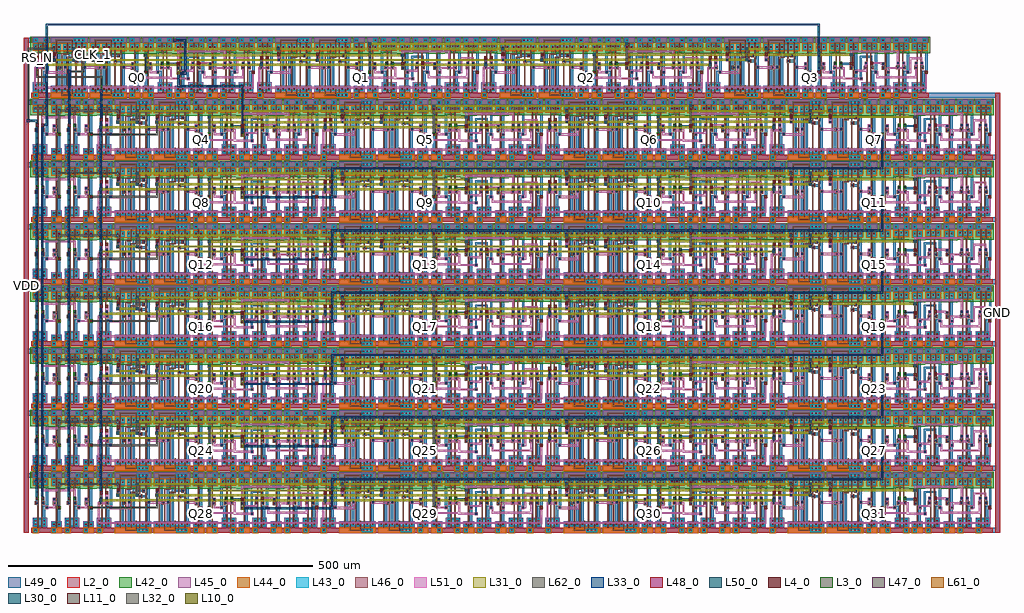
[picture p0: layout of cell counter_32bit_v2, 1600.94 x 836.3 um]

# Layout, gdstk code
from math import pi, radians
import gdstk
lib = gdstk.Library(unit=1e-6, precision=1e-09)
def R(c, l, rs):  # rectangles x0, y0, x1, y1
    for r in rs: c.add(gdstk.rectangle(r[:2], r[2:], *l))
def A(c, l, x, y, w, h, nx, ny, dx, dy):  # array of equal rectangles
    R(c, l, [(x+i*dx, y+j*dy, x+i*dx+w, y+j*dy+h) for i in range(nx) for j in range(ny)])
def P(c, l, *ps):  # polygons
    for p in ps: c.add(gdstk.Polygon(p, *l))
L2_0 = (2, 0)
L3_0 = (3, 0)
L4_0 = (4, 0)
L10_0 = (10, 0)
L11_0 = (11, 0)
L30_0 = (30, 0)
L31_0 = (31, 0)
L32_0 = (32, 0)
L33_0 = (33, 0)
L42_0 = (42, 0)
L43_0 = (43, 0)
L44_0 = (44, 0)
L45_0 = (45, 0)
L46_0 = (46, 0)
L47_0 = (47, 0)
L48_0 = (48, 0)
L49_0 = (49, 0)
L50_0 = (50, 0)
L51_0 = (51, 0)
L61_0 = (61, 0)
L62_0 = (62, 0)

nand2 = lib.new_cell('nand2')
R(nand2, L42_0, [(402,-492,436,-465)])
R(nand2, L43_0, [(408,-564,414,-558), (408,-554,428,-548), (408,-548,428,-542), (408,-486,430,-484), (408,-484,430,-478), (408,-474,414,-468), (424,-474,430,-468)])
R(nand2, L44_0, [(406,-566,416,-556), (406,-488,432,-476)])
R(nand2, L45_0, [(406,-556,430,-540), (406,-476,432,-466)])
R(nand2, L46_0, [(414,-557,416,-545), (420,-557,422,-545), (410,-519,416,-513), (420,-519,426,-513), (414,-489,416,-475), (422,-489,424,-475)])
R(nand2, L47_0, [(412,-517,414,-515), (422,-517,424,-515)])
A(nand2, L48_0, 410, -482, 2, 2, 3, 1, 8, 0)
R(nand2, L48_0, [(410,-562,412,-560), (410,-552,412,-550), (424,-552,426,-550), (410,-546,412,-544), (424,-546,426,-544), (410,-472,412,-470), (426,-472,428,-470)])
A(nand2, L49_0, 409, -483, 4, 4, 3, 1, 8, 0)
R(nand2, L49_0, [(404,-565,434,-557), (409,-563,413,-559), (409,-553,413,-549), (423,-553,427,-549), (409,-547,413,-543), (423,-547,427,-543), (427,-526,432,-521), (411,-518,415,-514), (421,-518,425,-514), (411,-511,416,-506), (420,-511,425,-506), (404,-475,434,-467), (409,-473,413,-469), (425,-473,429,-469)])
R(nand2, L50_0, [(428,-525,431,-522), (412,-510,415,-507), (421,-510,424,-507)])
R(nand2, L51_0, [(427,-526,432,-521), (411,-511,416,-506), (420,-511,425,-506)])
nand2.add(gdstk.FlexPath([(425,-543),(425,-521)], 4, ends="flush", simple_path=True, layer=49, datatype=0))  # L49_0
nand2.add(gdstk.FlexPath([(430,-517),(430,-497)], 4, ends="flush", simple_path=True, layer=49, datatype=0))  # L49_0
nand2.add(gdstk.FlexPath([(417,-489),(432,-489)], 4, ends="flush", simple_path=True, layer=49, datatype=0))  # L49_0
nand2.add(gdstk.FlexPath([(419,-483),(419,-487)], 4, ends="flush", simple_path=True, layer=49, datatype=0))  # L49_0
nand2.add(gdstk.FlexPath([(430,-491),(430,-497)], 4, ends="flush", simple_path=True, layer=49, datatype=0))  # L49_0
nand2.add(gdstk.FlexPath([(423,-514),(423,-511)], 4, ends="flush", simple_path=True, layer=49, datatype=0))  # L49_0
nand2.add(gdstk.FlexPath([(413,-514),(413,-511)], 4, ends="flush", simple_path=True, layer=49, datatype=0))  # L49_0
nand2.add(gdstk.FlexPath([(411,-473),(411,-479)], 4, ends="flush", simple_path=True, layer=49, datatype=0))  # L49_0
nand2.add(gdstk.FlexPath([(427,-473),(427,-479)], 4, ends="flush", simple_path=True, layer=49, datatype=0))  # L49_0
nand2.add(gdstk.FlexPath([(430,-517),(430,-521)], 4, ends="flush", simple_path=True, layer=49, datatype=0))  # L49_0
nand2.add(gdstk.FlexPath([(411,-553),(411,-559)], 4, ends="flush", simple_path=True, layer=49, datatype=0))  # L49_0
nand2.add(gdstk.FlexPath([(425,-549),(425,-547)], 4, ends="flush", simple_path=True, layer=49, datatype=0))  # L49_0
nand2.add(gdstk.FlexPath([(411,-549),(411,-547)], 4, ends="flush", simple_path=True, layer=49, datatype=0))  # L49_0
nand2.add(gdstk.FlexPath([(415,-489),(415,-545)], 2, ends="flush", simple_path=True, layer=46, datatype=0))  # L46_0
nand2.add(gdstk.FlexPath([(421,-545),(421,-491)], 2, ends="flush", simple_path=True, layer=46, datatype=0))  # L46_0
nand2.add(gdstk.FlexPath([(420,-490),(424,-490)], 2, ends="flush", simple_path=True, layer=46, datatype=0))  # L46_0
nand2.add(gdstk.Label('VA', (413.5,-508.5), layer=51, texttype=0))
nand2.add(gdstk.Label('VB', (422.5,-508.5), layer=51, texttype=0))
nand2.add(gdstk.Label('VOUT', (429.5,-523.5), layer=51, texttype=0))
nand2.add(gdstk.Label('VDD', (419,-471), layer=49, texttype=0))
nand2.add(gdstk.Label('GND', (419,-561), layer=49, texttype=0))

latch_rs = lib.new_cell('latch_rs')
R(latch_rs, L42_0, [(72,141.6,140,169.6)])
A(latch_rs, L43_0, 113, 70.6, 6, 6, 3, 2, 6, 90)
R(latch_rs, L43_0, [(78,80.6,92,86.6), (96,80.6,134,86.6), (78,147.6,92,150.6), (96,147.6,134,150.6), (78,150.6,92,156.6), (96,150.6,134,156.6)])
R(latch_rs, L44_0, [(76,68.6,136,78.6), (76,145.6,94,158.6), (94,145.6,136,158.6)])
R(latch_rs, L45_0, [(76,78.6,94,88.6), (94,78.6,136,88.6), (76,158.6,136,168.6)])
R(latch_rs, L46_0, [(84,77.6,86,89.6), (102,77.6,104,89.6), (110,77.6,112,89.6), (116,77.6,118,89.6), (126,77.6,128,89.6), (89,116,95,122), (115,126.6,121,132.6), (79,135,85,141), (121,135.6,127,141.6), (84,141.6,86,159.6), (102,147.6,104,159.6), (110,147.6,112,159.6), (116,147.6,118,159.6), (126,147.6,128,159.6)])
R(latch_rs, L47_0, [(91,118,93,120), (117,128.6,119,130.6), (81,137,83,139), (123,137.6,125,139.6)])
A(latch_rs, L48_0, 115, 72.6, 2, 2, 3, 2, 6, 90)
R(latch_rs, L48_0, [(80,82.6,82,84.6), (88,82.6,90,84.6), (98,82.6,100,84.6), (106,82.6,108,84.6), (121,82.6,123,84.6), (130,82.6,132,84.6), (80,151.6,82,153.6), (88,151.6,90,153.6), (98,151.6,100,153.6), (106,151.6,108,153.6), (121,151.6,123,153.6), (130,151.6,132,153.6)])
A(latch_rs, L49_0, 114, 71.6, 4, 4, 3, 2, 6, 90)
R(latch_rs, L49_0, [(74,69.6,138,77.6), (79,81.6,83,85.6), (87,81.6,91,85.6), (97,81.6,101,85.6), (105,81.6,109,85.6), (120,81.6,124,85.6), (129,81.6,133,85.6), (97,117,102,122), (129,117,134,122), (116,127.6,120,131.6), (79,129,84,134), (80,136,84,140), (122,136.6,126,140.6), (79,150.6,83,154.6), (87,150.6,91,154.6), (97,150.6,101,154.6), (105,150.6,109,154.6), (120,150.6,124,154.6), (129,150.6,133,154.6), (74,159.6,138,167.6)])
R(latch_rs, L50_0, [(98,118,101,121), (130,118,133,121), (80,130,83,133)])
R(latch_rs, L51_0, [(97,117,102,122), (129,117,134,122), (79,129,84,134)])
latch_rs.add(gdstk.FlexPath([(89,145.6),(89,150.6)], 4, ends="flush", simple_path=True, layer=49, datatype=0))  # L49_0
latch_rs.add(gdstk.FlexPath([(99,145.6),(99,150.6)], 4, ends="flush", simple_path=True, layer=49, datatype=0))  # L49_0
latch_rs.add(gdstk.FlexPath([(107,145.6),(107,150.6)], 4, ends="flush", simple_path=True, layer=49, datatype=0))  # L49_0
latch_rs.add(gdstk.FlexPath([(81,154.5),(81,160)], 4, ends="flush", simple_path=True, layer=49, datatype=0))  # L49_0
latch_rs.add(gdstk.FlexPath([(89,108.6),(89,85.6)], 4, ends="flush", simple_path=True, layer=49, datatype=0))  # L49_0
latch_rs.add(gdstk.FlexPath([(122,138.6),(109,138.6)], 4, ends="flush", simple_path=True, layer=49, datatype=0))  # L49_0
latch_rs.add(gdstk.FlexPath([(89,108.5),(89,146)], 4, ends="flush", simple_path=True, layer=49, datatype=0))  # L49_0
latch_rs.add(gdstk.FlexPath([(99,108.5),(99,146)], 4, ends="flush", simple_path=True, layer=49, datatype=0))  # L49_0
latch_rs.add(gdstk.FlexPath([(82,136),(82,134)], 4, ends="flush", simple_path=True, layer=49, datatype=0))  # L49_0
latch_rs.add(gdstk.FlexPath([(131,108.5),(131,146)], 4, ends="flush", simple_path=True, layer=49, datatype=0))  # L49_0
latch_rs.add(gdstk.FlexPath([(131,108.6),(131,85.6)], 4, ends="flush", simple_path=True, layer=49, datatype=0))  # L49_0
latch_rs.add(gdstk.FlexPath([(107,108.6),(107,85.6)], 4, ends="flush", simple_path=True, layer=49, datatype=0))  # L49_0
latch_rs.add(gdstk.FlexPath([(91,119),(94,119)], 4, ends="flush", simple_path=True, layer=49, datatype=0))  # L49_0
latch_rs.add(gdstk.FlexPath([(122,81.6),(122,75.6)], 4, ends="flush", simple_path=True, layer=49, datatype=0))  # L49_0
latch_rs.add(gdstk.FlexPath([(131,145.6),(131,150.6)], 4, ends="flush", simple_path=True, layer=49, datatype=0))  # L49_0
latch_rs.add(gdstk.FlexPath([(120,129.6),(129,129.6)], 4, ends="flush", simple_path=True, layer=49, datatype=0))  # L49_0
latch_rs.add(gdstk.FlexPath([(81,75.6),(81,81.6)], 4, ends="flush", simple_path=True, layer=49, datatype=0))  # L49_0
latch_rs.add(gdstk.FlexPath([(122,154.5),(122,160)], 4, ends="flush", simple_path=True, layer=49, datatype=0))  # L49_0
latch_rs.add(gdstk.FlexPath([(99,108.6),(99,85.6)], 4, ends="flush", simple_path=True, layer=49, datatype=0))  # L49_0
latch_rs.add(gdstk.FlexPath([(107,108.5),(107,146)], 4, ends="flush", simple_path=True, layer=49, datatype=0))  # L49_0
latch_rs.add(gdstk.FlexPath([(103,147.6),(103,141.6)], 2, ends="flush", simple_path=True, layer=46, datatype=0))  # L46_0
latch_rs.add(gdstk.FlexPath([(117,141.6),(117,127.6)], 2, ends="flush", simple_path=True, layer=46, datatype=0))  # L46_0
latch_rs.add(gdstk.FlexPath([(85,89.5),(85,127)], 2, ends="flush", simple_path=True, layer=46, datatype=0))  # L46_0
latch_rs.add(gdstk.FlexPath([(117,89.5),(117,127)], 2, ends="flush", simple_path=True, layer=46, datatype=0))  # L46_0
latch_rs.add(gdstk.FlexPath([(85,141.6),(85,126.6)], 2, ends="flush", simple_path=True, layer=46, datatype=0))  # L46_0
latch_rs.add(gdstk.FlexPath([(85,159.6),(85,163.6),(111,163.6),(111,159.6)], 2, ends="flush", simple_path=True, layer=46, datatype=0))  # L46_0
latch_rs.add(gdstk.FlexPath([(94,104.5),(94,141.5)], 2, ends="flush", simple_path=True, layer=46, datatype=0))  # L46_0
latch_rs.add(gdstk.FlexPath([(111,147.6),(111,141.6)], 2, ends="flush", simple_path=True, layer=46, datatype=0))  # L46_0
latch_rs.add(gdstk.FlexPath([(103,128),(103,89.5)], 2, ends="flush", simple_path=True, layer=46, datatype=0))  # L46_0
latch_rs.add(gdstk.FlexPath([(94,104.6),(94,73.6),(111,73.6),(111,77.6)], 2, ends="flush", simple_path=True, layer=46, datatype=0))  # L46_0
latch_rs.add(gdstk.FlexPath([(117,147.6),(117,141.6)], 2, ends="flush", simple_path=True, layer=46, datatype=0))  # L46_0
latch_rs.add(gdstk.FlexPath([(127,141.6),(127,127.6)], 2, ends="flush", simple_path=True, layer=46, datatype=0))  # L46_0
latch_rs.add(gdstk.FlexPath([(111,141.6),(111,135.6),(103,135.6),(103,127.6)], 2, ends="flush", simple_path=True, layer=46, datatype=0))  # L46_0
latch_rs.add(gdstk.FlexPath([(127,147.6),(127,141.6)], 2, ends="flush", simple_path=True, layer=46, datatype=0))  # L46_0
latch_rs.add(gdstk.FlexPath([(127,127.6),(127,126.6)], 2, ends="flush", simple_path=True, layer=46, datatype=0))  # L46_0
latch_rs.add(gdstk.FlexPath([(104,141),(93,141)], 2, ends="flush", simple_path=True, layer=46, datatype=0))  # L46_0
latch_rs.add(gdstk.FlexPath([(127,127),(127,89.5)], 2, ends="flush", simple_path=True, layer=46, datatype=0))  # L46_0
latch_rs.add(gdstk.FlexPath([(117,127.6),(117,126.6)], 2, ends="flush", simple_path=True, layer=46, datatype=0))  # L46_0
latch_rs.add(gdstk.Label('CLK', (81.5,131.5), layer=51, texttype=0))
latch_rs.add(gdstk.Label('D', (99.5,119.5), layer=51, texttype=0))
latch_rs.add(gdstk.Label('Q', (131.5,119.5), layer=51, texttype=0))
latch_rs.add(gdstk.Label('VDD', (106,163.6), layer=49, texttype=0))
latch_rs.add(gdstk.Label('GND', (106,73.6), layer=49, texttype=0))

inv = lib.new_cell('inv')
R(inv, L42_0, [(23.3,75.2,49.5,103.2)])
R(inv, L43_0, [(29.3,4.2,35.3,10.2), (29.3,14.2,43.3,20.2), (29.3,81.2,43.3,84.2), (29.3,84.2,43.3,90.2), (29.3,94.2,35.3,100.2)])
R(inv, L44_0, [(27.3,2.2,45.3,12.2), (27.3,79.2,45.3,92.2)])
R(inv, L45_0, [(27.3,12.2,45.3,22.2), (27.3,92.2,45.3,102.2)])
R(inv, L46_0, [(35.3,11.2,37.3,23.2), (30.25,48.6,36.25,54.6), (35.3,75.2,37.3,93.2)])
R(inv, L47_0, [(32.3,50.6,34.3,52.6)])
R(inv, L48_0, [(31.3,6.2,33.3,8.2), (31.3,16.2,33.3,18.2), (39.3,16.2,41.3,18.2), (31.3,85.2,33.3,87.2), (39.3,85.2,41.3,87.2), (31.3,96.2,33.3,98.2)])
R(inv, L49_0, [(30.3,5.2,34.3,9.2), (30.3,15.2,34.3,19.2), (38.3,15.2,42.3,19.2), (38.3,42.1,43.3,47.1), (31.3,49.6,35.3,53.6), (30.3,56,35.3,61), (30.3,84.2,34.3,88.2), (38.3,84.2,42.3,88.2), (30.3,95.2,34.3,99.2)])
R(inv, L50_0, [(39.3,43.1,42.3,46.1), (31.3,57,34.3,60)])
R(inv, L51_0, [(38.3,42.1,43.3,47.1), (30.3,56,35.3,61)])
inv.add(gdstk.FlexPath([(24.99,97.2),(47.49,97.2)], 8, ends="flush", simple_path=True, layer=49, datatype=0))  # L49_0
inv.add(gdstk.FlexPath([(25,7.2),(47.5,7.2)], 8, ends="flush", simple_path=True, layer=49, datatype=0))  # L49_0
inv.add(gdstk.FlexPath([(33.3,53.6),(33.3,56)], 4, ends="flush", simple_path=True, layer=49, datatype=0))  # L49_0
inv.add(gdstk.FlexPath([(40.3,42.2),(40.3,19.2)], 4, ends="flush", simple_path=True, layer=49, datatype=0))  # L49_0
inv.add(gdstk.FlexPath([(32.3,88.2),(32.3,95.2)], 4, ends="flush", simple_path=True, layer=49, datatype=0))  # L49_0
inv.add(gdstk.FlexPath([(40.3,79.2),(40.3,84.2)], 4, ends="flush", simple_path=True, layer=49, datatype=0))  # L49_0
inv.add(gdstk.FlexPath([(32.3,9.2),(32.3,15.2)], 4, ends="flush", simple_path=True, layer=49, datatype=0))  # L49_0
inv.add(gdstk.FlexPath([(40.3,42.1),(40.3,79.6)], 4, ends="flush", simple_path=True, layer=49, datatype=0))  # L49_0
inv.add(gdstk.FlexPath([(36.3,75.2),(36.3,60.2)], 2, ends="flush", simple_path=True, layer=46, datatype=0))  # L46_0
inv.add(gdstk.FlexPath([(36.3,23.1),(36.3,60.6)], 2, ends="flush", simple_path=True, layer=46, datatype=0))  # L46_0
inv.add(gdstk.Label('VOUT', (40.8,44.6), layer=51, texttype=0))
inv.add(gdstk.Label('VIN', (32.8,58.5), layer=51, texttype=0))
inv.add(gdstk.Label('VDD', (36.24,97.2), layer=49, texttype=0))
inv.add(gdstk.Label('GND', (36.25,7.2), layer=49, texttype=0))
inv.add(gdstk.Label('VIN', (32.8,58.5), layer=3, texttype=0))
inv.add(gdstk.Label('VOUT', (40.8,44.6), layer=3, texttype=0))

dff_rs = lib.new_cell('dff_rs')
R(dff_rs, L2_0, [(-2030.3,-1377,-1849.8,-1369), (-2030.3,-1287,-1849.8,-1279)])
R(dff_rs, L4_0, [(-1859,-1347.1,-1854,-1342.1), (-2023.3,-1314,-2018.3,-1309), (-2014.3,-1314,-2009.3,-1309), (-1995.3,-1308.6,-1990.3,-1303.6), (-1931.3,-1308.6,-1926.3,-1303.6)])
R(dff_rs, L49_0, [(-2030.3,-1377,-1849.8,-1369), (-2030.3,-1287,-1849.8,-1279)])
R(dff_rs, L51_0, [(-1859,-1347.1,-1854,-1338.1), (-1977.3,-1329.6,-1972.3,-1324.6), (-2023.3,-1318,-2018.3,-1309), (-2014.3,-1318,-2009.3,-1309), (-1995.3,-1312.6,-1990.3,-1303.6), (-1931.3,-1312.6,-1926.3,-1303.6)])
R(dff_rs, L61_0, [(-1858,-1346.1,-1855,-1343.1), (-2022.3,-1313,-2019.3,-1310), (-2013.3,-1313,-2010.3,-1310), (-1994.3,-1307.6,-1991.3,-1304.6), (-1930.3,-1307.6,-1927.3,-1304.6)])
R(dff_rs, L62_0, [(-1859,-1347.1,-1854,-1342.1), (-2023.3,-1314,-2018.3,-1309), (-2014.3,-1314,-2009.3,-1309), (-1995.3,-1308.6,-1990.3,-1303.6), (-1931.3,-1308.6,-1926.3,-1303.6)])
dff_rs.add(gdstk.FlexPath([(-1864.5,-1321.68),(-1864.5,-1329.6)], 5, ends="flush", simple_path=True, layer=51, datatype=0))  # L51_0
dff_rs.add(gdstk.FlexPath([(-1942.3,-1327.6),(-1911.3,-1327.6)], 4, ends="flush", simple_path=True, layer=51, datatype=0))  # L51_0
dff_rs.add(gdstk.FlexPath([(-2005,-1336),(-1975,-1336),(-1975,-1327)], 4, ends="flush", simple_path=True, layer=51, datatype=0))  # L51_0
dff_rs.add(gdstk.FlexPath([(-1878.3,-1327.6),(-1862.3,-1327.6)], 4, ends="flush", simple_path=True, layer=51, datatype=0))  # L51_0
dff_rs.add(gdstk.Reference(nand2, (-2434.3,-812)))
dff_rs.add(gdstk.Reference(latch_rs, (-2074.3,-1446.6)))
dff_rs.add(gdstk.Reference(latch_rs, (-2010.3,-1446.6)))
dff_rs.add(gdstk.Reference(inv, (-1897.3,-1380.2)))
dff_rs.add(gdstk.Label('GND', (-1940.05,-1373), layer=2, texttype=0))
dff_rs.add(gdstk.Label('Q', (-1856.5,-1344.6), layer=62, texttype=0))
dff_rs.add(gdstk.Label('Q', (-1856.5,-1344.6), layer=4, texttype=0))
dff_rs.add(gdstk.Label('VDD', (-1940.05,-1283), layer=2, texttype=0))
dff_rs.add(gdstk.Label('RS_N', (-2020.8,-1311.5), layer=62, texttype=0))
dff_rs.add(gdstk.Label('D', (-2011.8,-1311.5), layer=62, texttype=0))
dff_rs.add(gdstk.Label('CLK_2', (-1992.8,-1306.1), layer=62, texttype=0))
dff_rs.add(gdstk.Label('CLK_1', (-1928.8,-1306.1), layer=62, texttype=0))
dff_rs.add(gdstk.Label('RS_N', (-2020.8,-1311.5), layer=4, texttype=0))
dff_rs.add(gdstk.Label('D', (-2011.8,-1311.5), layer=4, texttype=0))
dff_rs.add(gdstk.Label('CLK_2', (-1992.8,-1306.1), layer=4, texttype=0))
dff_rs.add(gdstk.Label('CLK_1', (-1928.8,-1306.1), layer=4, texttype=0))

xor = lib.new_cell('xor')
R(xor, L2_0, [(-0.01,226,134.99,234), (-0.01,316,134.99,324)])
R(xor, L4_0, [(127.98,265,132.98,270), (5.3,278.8,10.3,283.8), (38.49,280,43.49,285)])
R(xor, L51_0, [(65.79,269.9,70.79,275.94)])
P(xor, L51_0, [(41.99,281),(56,281),(56,279.5),(59.29,279.5),(59.29,282.5),(59,282.5),(59,284),(41.99,284)],
  [(48.99,257.5),(115.5,257.5),(115.5,281.5),(112.5,281.5),(112.5,260.5),(51.99,260.5),(51.99,269),(48.99,269)],
  [(66.78,267.41),(69.78,267.41),(69.78,272.94),(94.99,272.94),(94.99,285),(91.99,285),(91.99,275.94),(66.78,275.94)],
  [(14,268.4),(33,268.4),(33,281.5),(30,281.5),(30,271.4),(14,271.4)],
  [(6,280.11),(9,280.11),(9,300.11),(82.5,300.11),(82.5,281.31),(85.5,281.31),(85.5,303.11),(6,303.11)],
  [(101.48,266),(105.98,266),(105.98,289),(121.5,289),(121.5,283.5),(124.5,283.5),(124.5,292),(102.98,292),(102.98,269),(101.48,269)])
R(xor, L61_0, [(128.98,266,131.98,269), (6.3,279.8,9.3,282.8), (39.49,281,42.49,284)])
R(xor, L62_0, [(127.98,265,132.98,270), (5.3,278.8,10.3,283.8), (38.49,280,43.49,285)])
xor.add(gdstk.Reference(inv, (27.49,222.8)))
xor.add(gdstk.Reference(inv, (-25,222.8)))
xor.add(gdstk.Reference(nand2, (-329.02,791)))
xor.add(gdstk.Reference(nand2, (-299.02,791)))
xor.add(gdstk.Reference(nand2, (-381.51,791)))
xor.add(gdstk.Label('/VA', (7.8,281.3), layer=62, texttype=0))
xor.add(gdstk.Label('/VB', (40.99,282.5), layer=62, texttype=0))
xor.add(gdstk.Label('/VOUT', (130.48,267.5), layer=62, texttype=0))
xor.add(gdstk.Label('VDD', (67.49,320), layer=2, texttype=0))
xor.add(gdstk.Label('GND', (67.49,230), layer=2, texttype=0))
xor.add(gdstk.Label('VA', (7.8,281.3), layer=4, texttype=0))
xor.add(gdstk.Label('VB', (40.99,282.5), layer=4, texttype=0))
xor.add(gdstk.Label('VOUT', (130.48,267.5), layer=4, texttype=0))

and2 = lib.new_cell('and2')
R(and2, L2_0, [(1.5,63.85,53.99,71.85), (1.5,153.85,53.99,161.85)])
R(and2, L3_0, [(44.8,102.75,49.8,107.75), (8.5,117.85,13.5,122.85), (17.5,117.85,22.5,122.85)])
R(and2, L51_0, [(8.5,117.85,13.5,122.85), (17.5,117.85,22.5,122.85)])
P(and2, L51_0, [(28.49,103.85),(40.5,103.85),(40.5,118.11),(37.5,118.11),(37.5,106.85),(28.49,106.85)])
R(and2, L61_0, [(45.8,103.75,48.8,106.75)])
R(and2, L62_0, [(44.8,102.75,49.8,107.75)])
and2.add(gdstk.Reference(nand2, (-402.5,628.85)))
and2.add(gdstk.Reference(inv, (6.5,60.65)))
and2.add(gdstk.Label('VDD', (27.745,157.85), layer=2, texttype=0))
and2.add(gdstk.Label('GND', (27.745,67.85), layer=2, texttype=0))
and2.add(gdstk.Label('VA', (11,120.35), layer=3, texttype=0))
and2.add(gdstk.Label('VB', (20,120.35), layer=3, texttype=0))
and2.add(gdstk.Label('VOUT', (47.3,105.25), layer=3, texttype=0))
and2.add(gdstk.Label('/VOUT', (47.3,105.25), layer=62, texttype=0))
and2.add(gdstk.Label('/VA', (11,120.35), layer=51, texttype=0))
and2.add(gdstk.Label('/VB', (20,120.35), layer=51, texttype=0))

c_ha = lib.new_cell('ha')
R(c_ha, L49_0, [(-145.79,76.4,41.7,84.4), (-71.71,105.06,-66.71,110.06), (-100.39,130.21,-87.75,133.21), (-145.79,166.4,41.7,174.4)])
P(c_ha, L49_0, [(-71.34,109.85),(-68.34,109.85),(-68.34,141.78),(-53.79,141.78),(-53.79,135.28),(-50.79,135.28),(-50.79,144.78),(-71.34,144.78)])
R(c_ha, L50_0, [(-70.71,106.06,-67.71,109.06)])
R(c_ha, L51_0, [(-71.71,105.06,-66.71,110.06)])
P(c_ha, L51_0, [(-113.48,123.35),(-99.05,123.35),(-99.05,106.06),(-71.35,106.06),(-71.35,109.06),(-96.05,109.06),(-96.05,126.35),(-110.48,126.35),(-110.48,130.66),(-113.48,130.66)])
R(c_ha, L62_0, [(-141.6,115.3,-136.6,120.3), (34.69,115.4,39.69,120.4), (-87.99,129.2,-82.99,134.2), (-54.8,130.4,-49.8,135.4)])
c_ha.add(gdstk.Reference(xor, (-93.29,-149.6)))
c_ha.add(gdstk.Reference(and2, (-91.8,12.55), rotation=pi, x_reflection=True))

counter_1bit = lib.new_cell('counter_1bit')
R(counter_1bit, L49_0, [(15.61,63.85,383.6,71.85), (15.61,153.85,383.6,161.85)])
R(counter_1bit, L51_0, [(156.26,94.76,207.4,97.76)])
P(counter_1bit, L51_0, [(18.64,78.58),(379.27,78.58),(379.27,106.45),(376.27,106.45),(376.27,81.58),(21.64,81.58),(21.64,102.89),(18.64,102.89)],
  [(363.6,110.84),(376.27,110.84),(376.27,106.41),(379.27,106.41),(379.27,113.84),(366.6,113.84),(366.6,118),(363.6,118)])
R(counter_1bit, L62_0, [(207.3,93.75,212.3,98.75), (193.91,102.75,198.91,107.75), (140.3,116.65,145.3,121.65), (371.6,126.85,376.6,131.85), (279.6,132.25,284.6,137.25), (343.6,132.25,348.6,137.25)])
counter_1bit.add(gdstk.Reference(dff_rs, (-1646.7,1440.85), rotation=pi, x_reflection=True))
counter_1bit.add(gdstk.Reference(c_ha, (57.31,-12.55), rotation=pi, x_reflection=True))

via3 = lib.new_cell('via3')
R(via3, L30_0, [(-1.5,-1.5,1.5,1.5)])
R(via3, L31_0, [(-2.5,-2.5,2.5,2.5)])
R(via3, L62_0, [(-2.5,-2.5,2.5,2.5)])

counter_4bit = lib.new_cell('counter_4bit')
R(counter_4bit, L2_0, [(-558.05,288.5,913.91,296.5), (-558.05,378.5,913.91,386.5)])
A(counter_4bit, L4_0, -386.75, 318.4, 5, 5, 4, 1, 367.99, 0)
R(counter_4bit, L4_0, [(730.61,327.4,735.61,332.4), (-551.05,351.5,-546.05,356.5), (-523.05,356.9,-518.05,361.9), (-459.05,356.9,-454.05,361.9)])
R(counter_4bit, L10_0, [(-319.76,326.35,-314.76,331.35)])
R(counter_4bit, L30_0, [(-318.76,327.35,-315.76,330.35)])
R(counter_4bit, L31_0, [(-319.76,326.35,-314.76,331.35), (-550.5,340.5,-182,343.5), (-182.5,340.5,188.5,343.5), (188,340.5,556.5,343.5), (-522.5,348.5,-487.5,351.5), (-458.5,348.5,-90,351.5), (-90.5,348.5,280.5,351.5), (278.5,349,616.5,352), (-372.5,356.5,52,359.5), (363.5,357,788,360), (-490.5,367,-151.5,370), (-152,367,216.5,370), (216,367,584.5,370), (613.5,367,648.5,370), (-4.5,375,420,378)])
R(counter_4bit, L49_0, [(-558.05,288.5,913.91,296.5), (-558.05,378.5,913.91,386.5)])
A(counter_4bit, L62_0, -386.75, 318.4, 5, 5, 4, 1, 367.99, 0)
A(counter_4bit, L62_0, -550.5, 340.5, 3, 12.5, 4, 1, 368, 0)
A(counter_4bit, L62_0, -458.5, 348.5, 3, 9.9, 3, 1, 368, 0)
A(counter_4bit, L62_0, -154.5, 360.4, 3, 9.6, 3, 1, 368, 0)
R(counter_4bit, L62_0, [(-319.76,326.35,-314.76,331.35), (730.61,327.4,735.61,332.4), (-372.5,330.9,-369.5,359.5), (-4.5,330.9,-1.5,378), (363.5,330.9,366.5,360), (-319.76,331.35,-314.76,341.35), (49,344.8,52,359.5), (417,344.8,420,378), (785,344.8,788,360), (-522.5,348.5,-519.5,358.4), (-490.5,348.5,-487.5,370), (613.5,349,616.5,370), (-551.05,351.5,-546.05,356.5), (-523.05,356.9,-518.05,361.9), (-459.05,356.9,-454.05,361.9), (645.5,360.4,648.5,370)])
counter_4bit.add(gdstk.Reference(counter_1bit, (-174.45,224.65), rotation=pi, x_reflection=True))
counter_4bit.add(gdstk.Reference(counter_1bit, (193.54,224.65), rotation=pi, x_reflection=True))
counter_4bit.add(gdstk.Reference(counter_1bit, (561.53,224.65), rotation=pi, x_reflection=True))
counter_4bit.add(gdstk.Reference(counter_1bit, (929.52,224.65), rotation=pi, x_reflection=True))
counter_4bit.add(gdstk.Reference(via3, (-521,350)))
counter_4bit.add(gdstk.Reference(via3, (-489,350)))
counter_4bit.add(gdstk.Reference(via3, (-489,368.5)))
counter_4bit.add(gdstk.Reference(via3, (-153,368.5)))
counter_4bit.add(gdstk.Reference(via3, (215,368.5)))
counter_4bit.add(gdstk.Reference(via3, (583,368.5)))
counter_4bit.add(gdstk.Reference(via3, (-549,342)))
counter_4bit.add(gdstk.Reference(via3, (615,350.5)))
counter_4bit.add(gdstk.Reference(via3, (615,368.5)))
counter_4bit.add(gdstk.Reference(via3, (647,368.5)))
counter_4bit.add(gdstk.Reference(via3, (365,358.5)))
counter_4bit.add(gdstk.Reference(via3, (786.5,358.5)))
counter_4bit.add(gdstk.Reference(via3, (-371,358)))
counter_4bit.add(gdstk.Reference(via3, (50.5,358)))
counter_4bit.add(gdstk.Reference(via3, (-3,376.5)))
counter_4bit.add(gdstk.Reference(via3, (418.5,376.5)))
counter_4bit.add(gdstk.Reference(via3, (-89,350)))
counter_4bit.add(gdstk.Reference(via3, (279,350)))
counter_4bit.add(gdstk.Reference(via3, (-457,350)))
counter_4bit.add(gdstk.Reference(via3, (-181,342)))
counter_4bit.add(gdstk.Reference(via3, (187,342)))
counter_4bit.add(gdstk.Reference(via3, (555,342)))
counter_4bit.add(gdstk.Label('TC', (733.11,329.9), layer=4, texttype=0))
counter_4bit.add(gdstk.Label('RS_N', (-548.55,354), layer=4, texttype=0))
counter_4bit.add(gdstk.Label('Q0', (-384.25,320.9), layer=4, texttype=0))
counter_4bit.add(gdstk.Label('Q1', (-16.26,320.9), layer=4, texttype=0))
counter_4bit.add(gdstk.Label('CLK_1', (-456.55,359.4), layer=4, texttype=0))
counter_4bit.add(gdstk.Label('Q2', (351.73,320.9), layer=4, texttype=0))
counter_4bit.add(gdstk.Label('Q3', (719.72,320.9), layer=4, texttype=0))
counter_4bit.add(gdstk.Label('CLK_2', (-520.55,359.4), layer=4, texttype=0))
counter_4bit.add(gdstk.Label('VDD', (177.93,382.5), layer=2, texttype=0))
counter_4bit.add(gdstk.Label('GND', (177.93,292.5), layer=2, texttype=0))
counter_4bit.add(gdstk.Label('VIN', (-317.26,328.85), layer=10, texttype=0))

counter_4bit_en = lib.new_cell('counter_4bit_en')
A(counter_4bit_en, L30_0, 373.17, 126.58, 3, 3, 4, 1, 367.99, 0)
R(counter_4bit_en, L30_0, [(1490.53,135.58,1493.53,138.58), (103.89,150.68,106.89,153.68), (112.89,150.68,115.89,153.68), (156.38,150.68,159.38,153.68), (208.87,159.68,211.87,162.68)])
A(counter_4bit_en, L31_0, 372.17, 125.58, 5, 5, 4, 1, 367.99, 0)
R(counter_4bit_en, L31_0, [(439.16,133.53,444.16,138.53), (1489.53,134.58,1494.53,139.58), (102.89,149.68,107.89,154.68), (111.89,149.68,116.89,154.68), (155.38,149.68,160.38,154.68), (207.87,158.68,212.87,163.68)])
A(counter_4bit_en, L32_0, 373.17, 126.58, 3, 3, 4, 1, 367.99, 0)
R(counter_4bit_en, L32_0, [(440.16,134.53,443.16,137.53), (1490.53,135.58,1493.53,138.58), (103.89,150.68,106.89,153.68), (112.89,150.68,115.89,153.68), (156.38,150.68,159.38,153.68), (208.87,159.68,211.87,162.68)])
A(counter_4bit_en, L33_0, 372.17, 125.58, 5, 5, 4, 1, 367.99, 0)
R(counter_4bit_en, L33_0, [(439.16,133.53,444.16,138.53), (1489.53,134.58,1494.53,139.58), (102.89,149.68,107.89,154.68), (111.89,149.68,116.89,154.68), (155.38,149.68,160.38,154.68), (207.87,158.68,212.87,163.68)])
R(counter_4bit_en, L49_0, [(95.89,95.68,1672.83,103.68), (95.89,185.68,1672.83,193.68)])
P(counter_4bit_en, L51_0, [(112.87,152.18),(115.87,152.18),(115.87,163.91),(165.38,163.91),(165.38,154.41),(168.38,154.41),(168.38,166.91),(112.87,166.91)])
R(counter_4bit_en, L61_0, [(103.89,150.68,106.89,153.68), (112.89,150.68,115.89,153.68), (156.38,150.68,159.38,153.68)])
R(counter_4bit_en, L62_0, [(102.89,149.68,107.89,154.68), (111.89,149.68,116.89,154.68), (155.38,149.68,160.38,154.68)])
P(counter_4bit_en, L62_0, [(140.19,137.09),(143.19,137.09),(143.19,174.32),(236.87,174.32),(236.87,168.82),(239.87,168.82),(239.87,177.32),(140.19,177.32)],
  [(194.16,135.59),(303.42,135.59),(303.42,155.09),(300.42,155.09),(300.42,138.59),(194.16,138.59)])
counter_4bit_en.add(gdstk.Reference(counter_4bit, (758.92,-192.82)))
counter_4bit_en.add(gdstk.Reference(and2, (146.88,31.83)))
counter_4bit_en.add(gdstk.Reference(and2, (94.39,31.83)))

counter_28bit_en = lib.new_cell('counter_28bit_en')
R(counter_28bit_en, L2_0, [(-10.51,-602.22,-2.51,107.78), (1582.43,-602.22,1590.43,107.78)])
A(counter_28bit_en, L11_0, 277.77, -572.32, 5, 5, 4, 7, 367.99, 102)
R(counter_28bit_en, L11_0, [(1395.13,-563.32,1400.13,-558.32), (344.76,47.63,349.76,52.63), (8.49,63.78,13.49,68.78), (17.49,63.78,22.49,68.78), (60.98,63.78,65.98,68.78), (113.47,72.78,118.47,77.78)])
A(counter_28bit_en, L33_0, 9, -544.72, 3, 100, 1, 6, 0, 102)
A(counter_28bit_en, L33_0, 18, -544.72, 3, 100, 1, 6, 0, 102)
A(counter_28bit_en, L33_0, 61.5, -544.72, 3, 100, 1, 6, 0, 102)
A(counter_28bit_en, L33_0, 114, -535.72, 3, 100, 1, 6, 0, 102)
P(counter_28bit_en, L33_0, [(348.26,-359.5),(496.5,-359.5),(496.5,-312),(1399,-312),(1399,-255.82),(1396,-255.82),(1396,-309),(493.5,-309),(493.5,-356.5),(348.26,-356.5)],
  [(348.26,-155.5),(496.5,-155.5),(496.5,-108),(1399,-108),(1399,-51.82),(1396,-51.82),(1396,-105),(493.5,-105),(493.5,-152.5),(348.26,-152.5)],
  [(348.26,-257.5),(496.5,-257.5),(496.5,-210),(1399,-210),(1399,-153.82),(1396,-153.82),(1396,-207),(493.5,-207),(493.5,-254.5),(348.26,-254.5)],
  [(348.26,-461.5),(496.5,-461.5),(496.5,-414),(1399,-414),(1399,-357.82),(1396,-357.82),(1396,-411),(493.5,-411),(493.5,-458.5),(348.26,-458.5)],
  [(348.26,-563.5),(496.5,-563.5),(496.5,-516),(1399,-516),(1399,-459.82),(1396,-459.82),(1396,-513),(493.5,-513),(493.5,-560.5),(348.26,-560.5)],
  [(348.26,-53.5),(496.5,-53.5),(496.5,-6),(1399,-6),(1399,50.18),(1396,50.18),(1396,-3),(493.5,-3),(493.5,-50.5),(348.26,-50.5)])
R(counter_28bit_en, L49_0, [(-10.51,-602.22,-2.51,107.78), (1578.12,-602.22,1582.71,-594.22), (1582.43,-602.22,1590.43,107.78), (-2.89,-512.22,1.7,-504.22), (1578.13,-500.22,1582.72,-492.22), (-2.75,-410.22,1.84,-402.22), (1578.11,-398.22,1582.7,-390.22), (-2.79,-308.22,1.8,-300.22), (1578.1,-296.22,1582.69,-288.22), (-2.74,-206.26,1.85,-198.26), (1578.11,-194.22,1582.7,-186.22), (-2.82,-104.22,1.77,-96.22), (1578.08,-92.22,1582.67,-84.22), (-2.81,-2.22,1.78,5.78), (1578.12,9.78,1582.71,17.78), (-2.85,99.78,1.74,107.78)])
counter_28bit_en.add(gdstk.Reference(counter_4bit_en, (-94.4,-697.9)))
counter_28bit_en.add(gdstk.Reference(counter_4bit_en, (-94.4,-595.9)))
counter_28bit_en.add(gdstk.Reference(counter_4bit_en, (-94.4,-493.9)))
counter_28bit_en.add(gdstk.Reference(counter_4bit_en, (-94.4,-391.9)))
counter_28bit_en.add(gdstk.Reference(counter_4bit_en, (-94.4,-289.9)))
counter_28bit_en.add(gdstk.Reference(counter_4bit_en, (-94.4,-187.9)))
counter_28bit_en.add(gdstk.Reference(counter_4bit_en, (-94.4,-85.9)))
counter_28bit_en.add(gdstk.Label('VDD', (-6.51,-247.22), layer=2, texttype=0))
counter_28bit_en.add(gdstk.Label('GND', (1586.43,-247.22), layer=2, texttype=0))
counter_28bit_en.add(gdstk.Label('Q14', (1016.25,-263.82), layer=11, texttype=0))
counter_28bit_en.add(gdstk.Label('Q15', (1384.24,-263.82), layer=11, texttype=0))
counter_28bit_en.add(gdstk.Label('Q19', (1384.24,-365.82), layer=11, texttype=0))
counter_28bit_en.add(gdstk.Label('Q18', (1016.25,-365.82), layer=11, texttype=0))
counter_28bit_en.add(gdstk.Label('Q17', (648.26,-365.82), layer=11, texttype=0))
counter_28bit_en.add(gdstk.Label('Q16', (280.27,-365.82), layer=11, texttype=0))
counter_28bit_en.add(gdstk.Label('Q20', (280.27,-467.82), layer=11, texttype=0))
counter_28bit_en.add(gdstk.Label('Q21', (648.26,-467.82), layer=11, texttype=0))
counter_28bit_en.add(gdstk.Label('Q22', (1016.25,-467.82), layer=11, texttype=0))
counter_28bit_en.add(gdstk.Label('Q23', (1384.24,-467.82), layer=11, texttype=0))
counter_28bit_en.add(gdstk.Label('Q27', (1384.24,-569.82), layer=11, texttype=0))
counter_28bit_en.add(gdstk.Label('TC', (1397.63,-560.82), layer=11, texttype=0))
counter_28bit_en.add(gdstk.Label('Q26', (1016.25,-569.82), layer=11, texttype=0))
counter_28bit_en.add(gdstk.Label('Q25', (648.26,-569.82), layer=11, texttype=0))
counter_28bit_en.add(gdstk.Label('Q24', (280.27,-569.82), layer=11, texttype=0))
counter_28bit_en.add(gdstk.Label('Q0', (280.27,42.18), layer=11, texttype=0))
counter_28bit_en.add(gdstk.Label('VIN', (347.26,50.13), layer=11, texttype=0))
counter_28bit_en.add(gdstk.Label('Q1', (648.26,42.18), layer=11, texttype=0))
counter_28bit_en.add(gdstk.Label('Q2', (1016.25,42.18), layer=11, texttype=0))
counter_28bit_en.add(gdstk.Label('Q3', (1384.24,42.18), layer=11, texttype=0))
counter_28bit_en.add(gdstk.Label('Q4', (280.27,-59.82), layer=11, texttype=0))
counter_28bit_en.add(gdstk.Label('Q5', (648.26,-59.82), layer=11, texttype=0))
counter_28bit_en.add(gdstk.Label('Q6', (1016.25,-59.82), layer=11, texttype=0))
counter_28bit_en.add(gdstk.Label('Q7', (1384.24,-59.82), layer=11, texttype=0))
counter_28bit_en.add(gdstk.Label('Q11', (1384.24,-161.82), layer=11, texttype=0))
counter_28bit_en.add(gdstk.Label('Q10', (1016.25,-161.82), layer=11, texttype=0))
counter_28bit_en.add(gdstk.Label('Q9', (648.26,-161.82), layer=11, texttype=0))
counter_28bit_en.add(gdstk.Label('Q8', (280.27,-161.82), layer=11, texttype=0))
counter_28bit_en.add(gdstk.Label('Q12', (280.27,-263.82), layer=11, texttype=0))
counter_28bit_en.add(gdstk.Label('Q13', (648.26,-263.82), layer=11, texttype=0))
counter_28bit_en.add(gdstk.Label('CLK_2', (10.99,66.28), layer=11, texttype=0))
counter_28bit_en.add(gdstk.Label('EN', (19.99,66.28), layer=11, texttype=0))
counter_28bit_en.add(gdstk.Label('CLK_1', (63.48,66.28), layer=11, texttype=0))
counter_28bit_en.add(gdstk.Label('RS_N', (115.97,75.28), layer=11, texttype=0))
counter_28bit_en.add(gdstk.Label('GND', (1586.43,-247.22), layer=49, texttype=0))
counter_28bit_en.add(gdstk.Label('VDD', (-6.51,-247.22), layer=49, texttype=0))

counter_32bit_v2 = lib.new_cell('counter_32bit_v2')
R(counter_32bit_v2, L2_0, [(738.74,117.88,746.74,929.88), (2331.68,117.88,2339.68,839.87)])
A(counter_32bit_v2, L4_0, 922.29, 861.78, 5, 5, 4, 1, 367.99, 0)
R(counter_32bit_v2, L4_0, [(757.99,894.88,762.99,899.88), (785.99,900.28,790.99,905.28), (849.99,900.28,854.99,905.28)])
A(counter_32bit_v2, L11_0, 1027.02, 147.78, 5, 5, 4, 7, 367.99, 102)
R(counter_32bit_v2, L11_0, [(2144.38,156.78,2149.38,161.78), (2039.65,870.78,2044.65,875.78)])
R(counter_32bit_v2, L30_0, [(744.46,792.36,747.46,795.36), (864.22,840.49,867.22,843.49), (2040.65,871.78,2043.65,874.78), (811.8,873.14,814.8,876.14), (984.66,924.56,987.66,927.56)])
R(counter_32bit_v2, L31_0, [(743.46,791.36,748.46,796.36), (863.22,839.49,868.22,844.49), (2039.65,870.78,2044.65,875.78), (810.8,872.14,815.8,877.14), (983.66,923.56,988.66,928.56)])
R(counter_32bit_v2, L32_0, [(744.46,792.36,747.46,795.36), (864.22,840.49,867.22,843.49), (990.28,870.73,993.28,873.73), (2040.65,871.78,2043.65,874.78), (811.8,873.14,814.8,876.14), (984.66,924.56,987.66,927.56)])
R(counter_32bit_v2, L33_0, [(1095.51,772.73,1098.51,776.67), (757.74,787.37,760.74,795.25), (811.72,788.8,814.72,797.22), (743.46,791.36,748.46,796.36), (748.02,792.25,759.74,795.25), (811.72,797.22,814.72,872.74), (864.22,797.88,867.22,806.16), (864.22,806.16,867.22,844.94), (863.22,839.49,868.22,844.49), (992.53,869.35,1003.24,872.35), (989.28,869.73,994.28,874.73), (2039.65,870.78,2044.65,875.78), (810.8,872.14,815.8,877.14), (983.66,923.56,988.66,928.56)])
P(counter_32bit_v2, L33_0, [(990.17,848.76),(1095.51,848.76),(1095.51,776.67),(1098.51,776.67),(1098.51,851.76),(993.17,851.76),(993.17,870.33),(990.17,870.33)],
  [(774.5,789),(777.5,789),(777.5,950.18),(2040.65,950.18),(2040.65,872),(2043.65,872),(2043.65,953.18),(774.5,953.18)],
  [(987.68,924.57),(1001.74,924.57),(1001.74,869.34),(1004.74,869.34),(1004.74,927.57),(987.68,927.57)],
  [(769.32,785.88),(777.5,785.88),(777.5,789),(774.5,789),(774.5,788.88),(769.32,788.88)])
P(counter_32bit_v2, L49_0, [(738.74,827.48),(746.74,827.48),(746.74,921.88),(753.98,921.88),(753.98,929.88),(738.74,929.88)],
  [(2222.28,831.87),(2331.68,831.87),(2331.68,825.58),(2339.68,825.58),(2339.68,839.87),(2222.28,839.87)])
R(counter_32bit_v2, L50_0, [(984.66,924.56,987.66,927.56)])
R(counter_32bit_v2, L51_0, [(983.66,923.56,988.66,928.56)])
R(counter_32bit_v2, L61_0, [(984.66,924.56,987.66,927.56)])
R(counter_32bit_v2, L62_0, [(743.46,791.36,748.46,796.36), (863.22,839.49,868.22,844.49), (2039.65,870.78,2044.65,875.78), (810.8,872.14,815.8,877.14), (815.12,873.02,816.44,876.02), (758.54,882.94,761.54,895.23), (983.66,923.56,988.66,928.56)])
P(counter_32bit_v2, L62_0, [(758.54,864.12),(864.23,864.12),(864.23,838.21),(867.23,838.21),(867.23,867.12),(761.54,867.12),(761.54,883.02),(758.54,883.02)],
  [(816.37,873.02),(837.35,873.02),(837.35,901.27),(850.27,901.27),(850.27,904.27),(834.35,904.27),(834.35,876.02),(816.37,876.02)],
  [(744.49,796.18),(747.49,796.18),(747.49,910.52),(786.51,910.52),(786.51,903.2),(789.51,903.2),(789.51,913.52),(744.49,913.52)])
counter_32bit_v2.add(gdstk.Reference(counter_4bit, (1309.04,543.38)))
counter_32bit_v2.add(gdstk.Reference(counter_28bit_en, (749.25,720.1)))
counter_32bit_v2.add(gdstk.Label('RS_N', (760.49,897.38), layer=4, texttype=0))
counter_32bit_v2.add(gdstk.Label('CLK_2', (788.49,902.78), layer=4, texttype=0))
counter_32bit_v2.add(gdstk.Label('CLK_1', (852.49,902.78), layer=4, texttype=0))
counter_32bit_v2.add(gdstk.Label('Q0', (924.79,864.28), layer=4, texttype=0))
counter_32bit_v2.add(gdstk.Label('Q1', (1292.78,864.28), layer=4, texttype=0))
counter_32bit_v2.add(gdstk.Label('Q2', (1660.77,864.28), layer=4, texttype=0))
counter_32bit_v2.add(gdstk.Label('Q3', (2028.76,864.28), layer=4, texttype=0))
counter_32bit_v2.add(gdstk.Label('Q4', (1029.52,762.28), layer=11, texttype=0))
counter_32bit_v2.add(gdstk.Label('Q5', (1397.51,762.28), layer=11, texttype=0))
counter_32bit_v2.add(gdstk.Label('Q6', (1765.5,762.28), layer=11, texttype=0))
counter_32bit_v2.add(gdstk.Label('Q7', (2133.49,762.28), layer=11, texttype=0))
counter_32bit_v2.add(gdstk.Label('Q8', (1029.52,660.28), layer=11, texttype=0))
counter_32bit_v2.add(gdstk.Label('Q9', (1397.51,660.28), layer=11, texttype=0))
counter_32bit_v2.add(gdstk.Label('Q10', (1765.5,660.28), layer=11, texttype=0))
counter_32bit_v2.add(gdstk.Label('Q11', (2133.49,660.28), layer=11, texttype=0))
counter_32bit_v2.add(gdstk.Label('Q12', (1029.52,558.28), layer=11, texttype=0))
counter_32bit_v2.add(gdstk.Label('Q13', (1397.51,558.28), layer=11, texttype=0))
counter_32bit_v2.add(gdstk.Label('Q14', (1765.5,558.28), layer=11, texttype=0))
counter_32bit_v2.add(gdstk.Label('Q15', (2133.49,558.28), layer=11, texttype=0))
counter_32bit_v2.add(gdstk.Label('Q16', (1029.52,456.28), layer=11, texttype=0))
counter_32bit_v2.add(gdstk.Label('Q17', (1397.51,456.28), layer=11, texttype=0))
counter_32bit_v2.add(gdstk.Label('Q18', (1765.5,456.28), layer=11, texttype=0))
counter_32bit_v2.add(gdstk.Label('Q19', (2133.49,456.28), layer=11, texttype=0))
counter_32bit_v2.add(gdstk.Label('Q20', (1029.52,354.28), layer=11, texttype=0))
counter_32bit_v2.add(gdstk.Label('Q21', (1397.51,354.28), layer=11, texttype=0))
counter_32bit_v2.add(gdstk.Label('Q22', (1765.5,354.28), layer=11, texttype=0))
counter_32bit_v2.add(gdstk.Label('Q23', (2133.49,354.28), layer=11, texttype=0))
counter_32bit_v2.add(gdstk.Label('Q24', (1029.52,252.28), layer=11, texttype=0))
counter_32bit_v2.add(gdstk.Label('Q25', (1397.51,252.28), layer=11, texttype=0))
counter_32bit_v2.add(gdstk.Label('Q26', (1765.5,252.28), layer=11, texttype=0))
counter_32bit_v2.add(gdstk.Label('Q27', (2133.49,252.28), layer=11, texttype=0))
counter_32bit_v2.add(gdstk.Label('Q28', (1029.52,150.28), layer=11, texttype=0))
counter_32bit_v2.add(gdstk.Label('Q29', (1397.51,150.28), layer=11, texttype=0))
counter_32bit_v2.add(gdstk.Label('Q30', (1765.5,150.28), layer=11, texttype=0))
counter_32bit_v2.add(gdstk.Label('Q31', (2133.49,150.28), layer=11, texttype=0))
counter_32bit_v2.add(gdstk.Label('TC_28', (2146.88,159.28), layer=11, texttype=0))
counter_32bit_v2.add(gdstk.Label('TC_4', (2042.15,873.28), layer=11, texttype=0))
counter_32bit_v2.add(gdstk.Label('VDD', (742.74,523.88), layer=2, texttype=0))
counter_32bit_v2.add(gdstk.Label('GND', (2335.68,478.875), layer=2, texttype=0))

lib.write_gds('counter_32bit_v2.gds')
